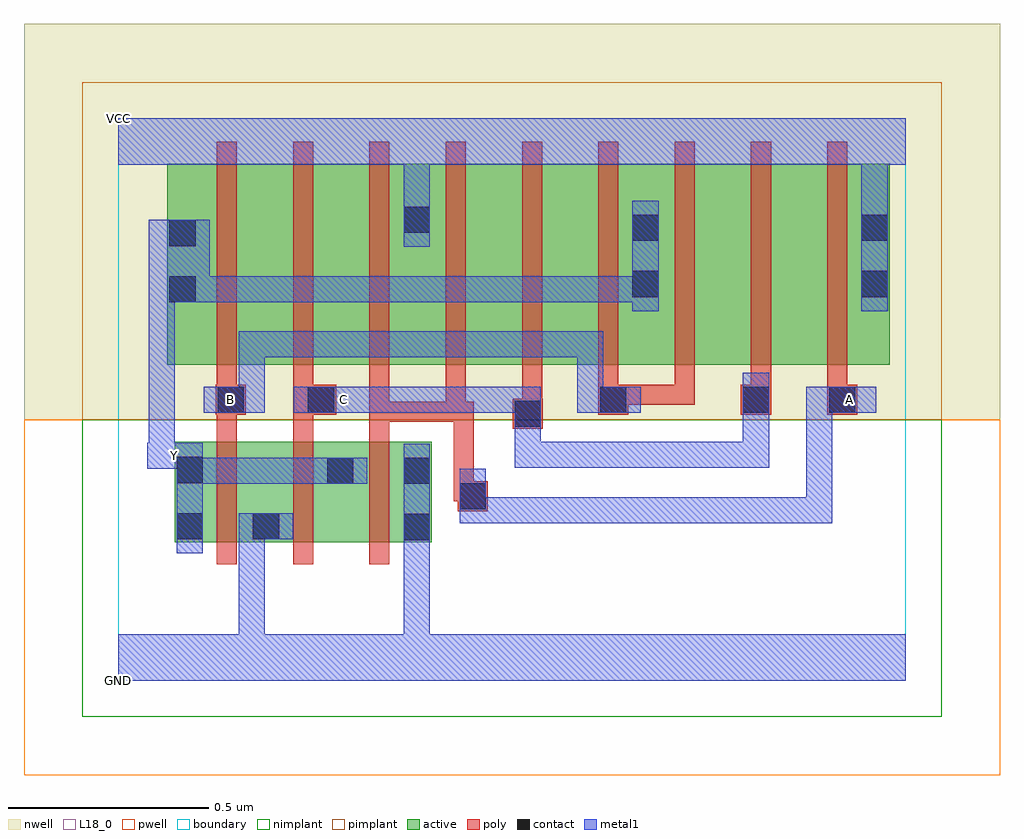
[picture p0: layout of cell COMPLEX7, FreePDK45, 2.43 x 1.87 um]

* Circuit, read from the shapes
.subckt COMPLEX7 A B C GND VCC Y
M1 GND B Y VSUBS nfet w=0.25u l=0.05u
M2 Y C GND VSUBS nfet w=0.25u l=0.05u
M3 GND A Y VSUBS nfet w=0.25u l=0.05u
M4 n1 B Y n2 pfet w=0.5u l=0.05u
M5 n3 C n1 n2 pfet w=0.5u l=0.05u
M6 VCC A n3 n2 pfet w=0.5u l=0.05u
M7 n4 A VCC n2 pfet w=0.5u l=0.05u
M8 n5 C n4 n2 pfet w=0.5u l=0.05u
M9 Y B n5 n2 pfet w=0.5u l=0.05u
M10 n6 B Y n2 pfet w=0.5u l=0.05u
M11 n7 C n6 n2 pfet w=0.5u l=0.05u
M12 VCC A n7 n2 pfet w=0.5u l=0.05u
.ends

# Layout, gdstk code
import gdstk
lib = gdstk.Library(unit=1e-6, precision=1e-09)
def R(c, l, rs):  # rectangles x0, y0, x1, y1
    for r in rs: c.add(gdstk.rectangle(r[:2], r[2:], *l))
def A(c, l, x, y, w, h, nx, ny, dx, dy):  # array of equal rectangles
    R(c, l, [(x+i*dx, y+j*dy, x+i*dx+w, y+j*dy+h) for i in range(nx) for j in range(ny)])
active = (1, 0)
pwell = (2, 0)
nwell = (3, 0)
nimplant = (4, 0)
pimplant = (5, 0)
poly = (9, 0)
contact = (10, 0)
metal1 = (11, 0)
L18_0 = (18, 0)
boundary = (235, 0)

complex7 = lib.new_cell('COMPLEX7')
A(complex7, active, 0.365, 0.787, 0.19, 0.5, 3, 1, 0.57, 0)
A(complex7, active, 0.555, 0.787, 0.225, 0.5, 3, 1, 0.57, 0)
R(complex7, active, [(0.14,0.345,0.215,0.595), (0.14,0.345,0.405,0.595), (0.33,0.345,0.59,0.595), (0.33,0.345,0.405,0.497), (0.515,0.345,0.59,0.595), (0.515,0.345,0.78,0.595), (0.705,0.345,0.78,0.595), (0.122,0.787,0.365,1.287), (0.122,0.787,0.245,1.2), (0.705,0.787,0.935,1.287), (1.275,0.787,1.505,1.287), (1.845,0.787,1.92,1.205), (0.705,0.807,0.78,1.205), (1.275,0.807,1.35,1.2)])
R(complex7, pwell, [(-0.235,-0.235,2.195,0.65)])
R(complex7, nwell, [(-0.235,0.65,2.195,1.635)])
R(complex7, nimplant, [(-0.09,-0.09,2.05,0.65)])
R(complex7, pimplant, [(-0.09,0.65,2.05,1.49)])
A(complex7, poly, 0.245, 0.29, 0.05, 0.36, 3, 1, 0.19, 0)
A(complex7, poly, 1.195, 0.687, 0.05, 0.095, 4, 1, 0.19, 0)
A(complex7, poly, 0.245, 0.732, 0.05, 0.61, 9, 1, 0.19, 0)
R(complex7, poly, [(0.845,0.422,0.92,0.497), (0.835,0.447,0.885,0.695), (0.835,0.447,0.895,0.497), (0.845,0.447,0.895,0.497), (0.245,0.6,0.295,0.712), (0.435,0.6,0.485,0.712), (0.625,0.6,0.675,0.695), (0.982,0.627,1.057,0.702), (0.625,0.645,0.675,0.695), (0.625,0.645,0.675,0.695), (0.625,0.645,0.675,0.695), (0.625,0.645,0.675,0.695), (0.625,0.645,0.675,0.695), (0.625,0.645,0.675,0.782), (0.625,0.645,0.865,0.695), (0.815,0.645,0.865,0.695), (0.815,0.645,0.865,0.695), (0.815,0.645,0.865,0.782), (0.815,0.645,0.885,0.695), (1.005,0.652,1.055,0.702), (1.005,0.652,1.055,0.702), (1.005,0.652,1.055,0.782), (0.242,0.662,0.317,0.737), (0.245,0.662,0.295,0.712), (0.245,0.662,0.295,0.712), (0.435,0.662,0.542,0.737), (1.195,0.662,1.27,0.737), (1.55,0.662,1.625,0.737), (1.765,0.662,1.84,0.737), (0.245,0.687,0.295,0.782), (0.435,0.687,0.485,0.782), (0.435,0.687,0.485,0.737), (0.435,0.687,0.485,0.737), (1.22,0.687,1.27,0.737), (1.22,0.687,1.27,0.737), (1.22,0.687,1.435,0.737), (1.385,0.687,1.435,0.737), (1.575,0.687,1.625,0.737), (1.575,0.687,1.625,0.737), (1.765,0.687,1.815,0.737), (1.765,0.687,1.815,0.737)])
R(complex7, contact, [(0.71,0.35,0.775,0.415), (0.145,0.352,0.21,0.417), (0.335,0.352,0.4,0.417), (0.85,0.427,0.915,0.492), (0.52,0.49,0.585,0.555), (0.71,0.49,0.775,0.555), (0.145,0.492,0.21,0.557), (0.987,0.632,1.052,0.697), (0.247,0.667,0.312,0.732), (0.472,0.667,0.537,0.732), (1.2,0.667,1.265,0.732), (1.555,0.667,1.62,0.732), (1.77,0.667,1.835,0.732), (0.127,0.942,0.192,1.007), (1.28,0.955,1.345,1.02), (1.85,0.955,1.915,1.02), (0.127,1.082,0.192,1.147), (1.28,1.095,1.345,1.16), (1.85,1.095,1.915,1.16), (0.71,1.115,0.775,1.18)])
R(complex7, metal1, [(0,0,1.96,0.115), (0.3,0.05,0.365,0.115), (0.3,0.05,0.365,0.115), (0.3,0.05,0.365,0.417), (0.71,0.05,0.775,0.115), (0.71,0.05,0.775,0.115), (0.71,0.05,0.775,0.38), (0.71,0.315,0.775,0.59), (0.71,0.315,0.775,0.38), (0.71,0.315,0.775,0.38), (0.145,0.317,0.21,0.592), (0.3,0.352,0.365,0.417), (0.3,0.352,0.365,0.417), (0.3,0.352,0.435,0.417), (0.85,0.392,0.915,0.457), (0.85,0.392,0.915,0.457), (0.85,0.392,0.915,0.457), (0.85,0.392,0.915,0.457), (0.85,0.392,1.052,0.457), (0.85,0.392,0.915,0.527), (0.987,0.392,1.052,0.457), (0.987,0.392,1.207,0.457), (1.142,0.392,1.207,0.457), (1.142,0.392,1.207,0.457), (1.142,0.392,1.207,0.457), (1.142,0.392,1.482,0.457), (1.417,0.392,1.482,0.457), (1.417,0.392,1.482,0.457), (1.417,0.392,1.482,0.457), (1.417,0.392,1.64,0.457), (1.575,0.392,1.64,0.457), (1.575,0.392,1.64,0.457), (1.575,0.392,1.64,0.457), (1.575,0.392,1.777,0.457), (1.712,0.392,1.777,0.732), (1.712,0.392,1.777,0.457), (0.145,0.49,0.21,0.555), (0.145,0.49,0.21,0.555), (0.145,0.49,0.412,0.555), (0.347,0.49,0.412,0.555), (0.347,0.49,0.55,0.555), (0.485,0.49,0.55,0.555), (0.485,0.49,0.55,0.555), (0.485,0.49,0.62,0.555), (0.072,0.527,0.21,0.592), (0.075,0.527,0.14,0.592), (0.075,0.527,0.14,0.592), (0.075,0.527,0.14,1.007), (0.145,0.527,0.21,0.592), (0.987,0.53,1.207,0.595), (0.987,0.53,1.052,0.732), (1.142,0.53,1.207,0.595), (1.142,0.53,1.345,0.595), (1.28,0.53,1.345,0.595), (1.28,0.53,1.345,0.595), (1.28,0.53,1.345,0.595), (1.28,0.53,1.482,0.595), (1.417,0.53,1.482,0.595), (1.417,0.53,1.62,0.595), (1.555,0.53,1.62,0.697), (1.555,0.632,1.62,0.697), (1.555,0.632,1.62,0.767), (0.212,0.667,0.347,0.732), (0.282,0.667,0.365,0.732), (0.3,0.667,0.365,0.87), (0.437,0.667,0.627,0.732), (0.562,0.667,0.627,0.732), (0.562,0.667,0.627,0.732), (0.562,0.667,0.765,0.732), (0.7,0.667,0.765,0.732), (0.7,0.667,0.765,0.732), (0.7,0.667,0.765,0.732), (0.7,0.667,0.915,0.732), (0.85,0.667,0.915,0.732), (0.85,0.667,0.915,0.732), (0.85,0.667,0.915,0.732), (0.85,0.667,1.052,0.732), (1.142,0.667,1.23,0.732), (1.142,0.667,1.207,0.87), (1.165,0.667,1.3,0.732), (1.712,0.667,1.8,0.732), (1.712,0.667,1.777,0.732), (1.735,0.667,1.887,0.732), (0.3,0.805,0.627,0.87), (0.562,0.805,0.627,0.87), (0.562,0.805,0.627,0.87), (0.562,0.805,0.627,0.87), (0.562,0.805,0.765,0.87), (0.7,0.805,0.765,0.87), (0.7,0.805,0.765,0.87), (0.7,0.805,0.765,0.87), (0.7,0.805,0.915,0.87), (0.85,0.805,0.915,0.87), (0.85,0.805,0.915,0.87), (0.85,0.805,0.915,0.87), (0.85,0.805,1.052,0.87), (0.987,0.805,1.052,0.87), (0.987,0.805,1.207,0.87), (1.28,0.92,1.345,1.195), (1.85,0.92,1.915,1.195), (0.075,0.942,0.227,1.147), (0.162,0.942,0.227,1.007), (0.162,0.942,0.227,1.007), (0.162,0.942,0.412,1.007), (0.347,0.942,0.412,1.007), (0.347,0.942,0.55,1.007), (0.485,0.942,0.55,1.007), (0.485,0.942,0.55,1.007), (0.485,0.942,0.55,1.007), (0.485,0.942,0.765,1.007), (0.7,0.942,0.765,1.007), (0.7,0.942,0.765,1.007), (0.7,0.942,0.765,1.007), (0.7,0.942,0.915,1.007), (0.85,0.942,0.915,1.007), (0.85,0.942,0.915,1.007), (0.85,0.942,0.915,1.007), (0.85,0.942,1.07,1.007), (1.005,0.942,1.07,1.007), (1.005,0.942,1.07,1.007), (1.005,0.942,1.07,1.007), (1.005,0.942,1.345,1.007), (1.28,0.942,1.345,1.007), (1.28,0.942,1.345,1.007), (0.71,1.08,0.775,1.215), (1.85,1.13,1.915,1.35), (0.71,1.15,0.775,1.35), (0,1.285,1.96,1.4)])
R(complex7, L18_0, [(0,0,1.96,0.115), (0.3,0.05,0.365,0.115), (0.3,0.05,0.365,0.115), (0.3,0.05,0.365,0.417), (0.71,0.05,0.775,0.115), (0.71,0.05,0.775,0.115), (0.71,0.05,0.775,0.38), (0.71,0.315,0.775,0.59), (0.71,0.315,0.775,0.38), (0.71,0.315,0.775,0.38), (0.145,0.317,0.21,0.592), (0.3,0.352,0.365,0.417), (0.3,0.352,0.365,0.417), (0.3,0.352,0.435,0.417), (0.85,0.392,0.915,0.457), (0.85,0.392,0.915,0.457), (0.85,0.392,0.915,0.457), (0.85,0.392,0.915,0.457), (0.85,0.392,0.915,0.527), (0.85,0.392,1.052,0.457), (0.987,0.392,1.052,0.457), (0.987,0.392,1.207,0.457), (1.142,0.392,1.207,0.457), (1.142,0.392,1.207,0.457), (1.142,0.392,1.207,0.457), (1.142,0.392,1.482,0.457), (1.417,0.392,1.482,0.457), (1.417,0.392,1.482,0.457), (1.417,0.392,1.482,0.457), (1.417,0.392,1.64,0.457), (1.575,0.392,1.64,0.457), (1.575,0.392,1.64,0.457), (1.575,0.392,1.64,0.457), (1.575,0.392,1.777,0.457), (1.712,0.392,1.777,0.457), (1.712,0.392,1.777,0.732), (0.145,0.49,0.21,0.555), (0.145,0.49,0.21,0.555), (0.145,0.49,0.412,0.555), (0.347,0.49,0.412,0.555), (0.347,0.49,0.55,0.555), (0.485,0.49,0.55,0.555), (0.485,0.49,0.55,0.555), (0.485,0.49,0.62,0.555), (0.072,0.527,0.21,0.592), (0.075,0.527,0.14,0.592), (0.075,0.527,0.14,0.592), (0.075,0.527,0.14,1.007), (0.107,0.527,0.172,0.592), (0.145,0.527,0.21,0.592), (0.987,0.53,1.052,0.732), (0.987,0.53,1.207,0.595), (1.142,0.53,1.207,0.595), (1.142,0.53,1.345,0.595), (1.28,0.53,1.345,0.595), (1.28,0.53,1.345,0.595), (1.28,0.53,1.345,0.595), (1.28,0.53,1.482,0.595), (1.417,0.53,1.482,0.595), (1.417,0.53,1.62,0.595), (1.555,0.53,1.62,0.697), (1.555,0.632,1.62,0.697), (1.555,0.632,1.62,0.767), (0.212,0.667,0.347,0.732), (0.247,0.667,0.312,0.732), (0.282,0.667,0.365,0.732), (0.3,0.667,0.365,0.87), (0.437,0.667,0.627,0.732), (0.527,0.667,0.592,0.732), (0.562,0.667,0.627,0.732), (0.562,0.667,0.627,0.732), (0.562,0.667,0.765,0.732), (0.7,0.667,0.765,0.732), (0.7,0.667,0.765,0.732), (0.7,0.667,0.765,0.732), (0.7,0.667,0.915,0.732), (0.85,0.667,0.915,0.732), (0.85,0.667,0.915,0.732), (0.85,0.667,0.915,0.732), (0.85,0.667,1.052,0.732), (1.142,0.667,1.207,0.87), (1.142,0.667,1.23,0.732), (1.165,0.667,1.3,0.732), (1.712,0.667,1.777,0.732), (1.712,0.667,1.8,0.732), (1.735,0.667,1.887,0.732), (1.787,0.667,1.852,0.732), (0.3,0.805,0.627,0.87), (0.562,0.805,0.627,0.87), (0.562,0.805,0.627,0.87), (0.562,0.805,0.627,0.87), (0.562,0.805,0.765,0.87), (0.7,0.805,0.765,0.87), (0.7,0.805,0.765,0.87), (0.7,0.805,0.765,0.87), (0.7,0.805,0.915,0.87), (0.85,0.805,0.915,0.87), (0.85,0.805,0.915,0.87), (0.85,0.805,0.915,0.87), (0.85,0.805,1.052,0.87), (0.987,0.805,1.052,0.87), (0.987,0.805,1.207,0.87), (1.28,0.92,1.345,1.195), (1.85,0.92,1.915,1.195), (0.075,0.942,0.227,1.147), (0.162,0.942,0.227,1.007), (0.162,0.942,0.227,1.007), (0.162,0.942,0.412,1.007), (0.347,0.942,0.412,1.007), (0.347,0.942,0.55,1.007), (0.485,0.942,0.55,1.007), (0.485,0.942,0.55,1.007), (0.485,0.942,0.55,1.007), (0.485,0.942,0.765,1.007), (0.7,0.942,0.765,1.007), (0.7,0.942,0.765,1.007), (0.7,0.942,0.765,1.007), (0.7,0.942,0.915,1.007), (0.85,0.942,0.915,1.007), (0.85,0.942,0.915,1.007), (0.85,0.942,0.915,1.007), (0.85,0.942,1.07,1.007), (1.005,0.942,1.07,1.007), (1.005,0.942,1.07,1.007), (1.005,0.942,1.07,1.007), (1.005,0.942,1.345,1.007), (1.28,0.942,1.345,1.007), (1.28,0.942,1.345,1.007), (0.71,1.08,0.775,1.215), (1.85,1.13,1.915,1.35), (0.71,1.15,0.775,1.35), (0,1.285,1.96,1.4)])
R(complex7, boundary, [(0,0,1.96,1.4)])
complex7.add(gdstk.Label('A', (1.82,0.7), layer=11, texttype=0))
complex7.add(gdstk.Label('B', (0.28,0.7), layer=11, texttype=0))
complex7.add(gdstk.Label('C', (0.56,0.7), layer=11, texttype=0))
complex7.add(gdstk.Label('Y', (0.14,0.56), layer=11, texttype=0))
complex7.add(gdstk.Label('VCC', (0,1.4), layer=11, texttype=0))
complex7.add(gdstk.Label('GND', (0,0), layer=11, texttype=0))

lib.write_gds('COMPLEX7.gds')
